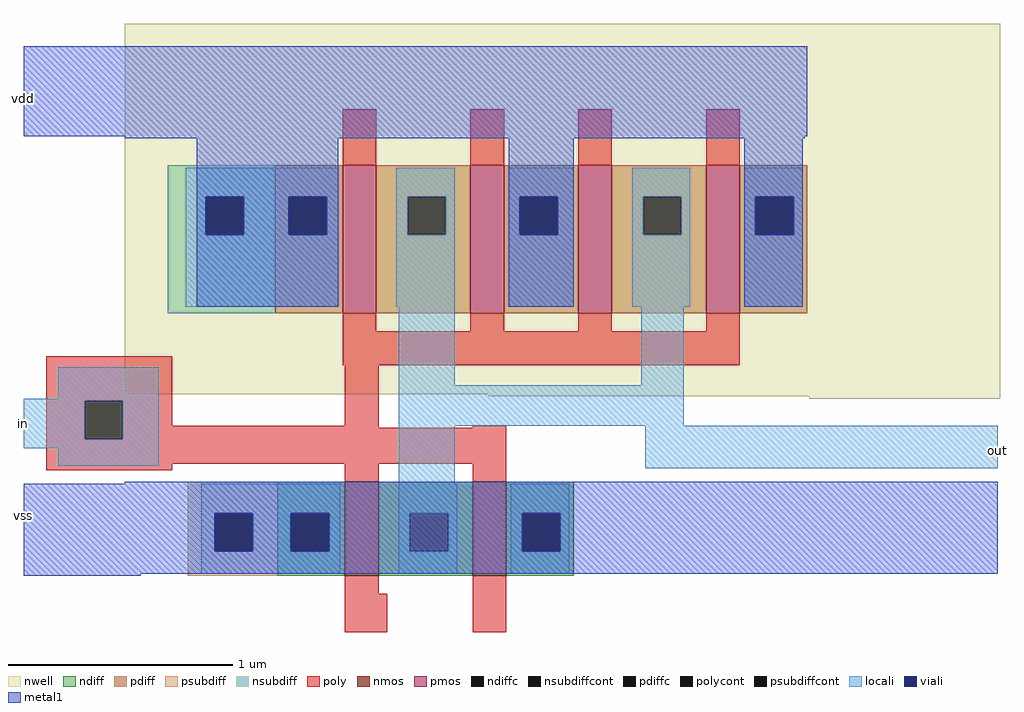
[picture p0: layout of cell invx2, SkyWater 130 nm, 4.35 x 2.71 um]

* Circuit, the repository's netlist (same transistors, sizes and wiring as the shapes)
* NGSPICE file created from invx2.ext - technology: sky130A

.subckt invx2 in out vdd vss
X0 vss in out vss sky130_fd_pr__nfet_01v8 ad=0.126 pd=1.44 as=0.0882 ps=0.84 w=0.42 l=0.15 M=2
X1 vdd in out vdd sky130_fd_pr__pfet_01v8 ad=0.1089 pd=0.99 as=0.1386 ps=1.08 w=0.66 l=0.15 M=4
.ends

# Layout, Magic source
magic
tech sky130A
<< nwell >>
rect -138 221 252 386
rect 24 220 252 221
rect 167 219 252 220
<< nmos >>
rect -40 140 -25 182
rect 17 140 32 182
<< pmos >>
rect -41 257 -26 323
rect 16 257 31 323
rect 64 257 79 323
rect 121 257 136 323
<< ndiff >>
rect -70 168 -40 182
rect -70 151 -64 168
rect -47 151 -40 168
rect -70 140 -40 151
rect -25 168 17 182
rect -25 151 -11 168
rect 6 151 17 168
rect -25 140 17 151
rect 32 168 62 182
rect 32 151 39 168
rect 56 151 62 168
rect 32 140 62 151
<< pdiff >>
rect -71 309 -41 323
rect -71 292 -65 309
rect -48 292 -41 309
rect -71 257 -41 292
rect -26 309 16 323
rect -26 292 -12 309
rect 5 292 16 309
rect -26 257 16 292
rect 31 309 64 323
rect 31 292 38 309
rect 55 292 64 309
rect 31 257 64 292
rect 79 309 121 323
rect 79 292 93 309
rect 110 292 121 309
rect 79 257 121 292
rect 136 309 166 323
rect 136 292 143 309
rect 160 292 166 309
rect 136 257 166 292
<< ndiffc >>
rect -64 151 -47 168
rect -11 151 6 168
rect 39 151 56 168
<< pdiffc >>
rect -65 292 -48 309
rect -12 292 5 309
rect 38 292 55 309
rect 93 292 110 309
rect 143 292 160 309
<< psubdiff >>
rect -110 168 -70 182
rect -110 151 -98 168
rect -81 151 -70 168
rect -110 140 -70 151
<< nsubdiff >>
rect -119 309 -71 323
rect -119 292 -102 309
rect -85 292 -71 309
rect -119 257 -71 292
<< psubdiffcont >>
rect -98 151 -81 168
<< nsubdiffcont >>
rect -102 292 -85 309
<< poly >>
rect -41 323 -26 348
rect 16 323 31 348
rect 64 323 79 348
rect 121 323 136 348
rect -41 249 -26 257
rect 16 249 31 257
rect 64 249 79 257
rect 121 249 136 257
rect -173 218 -117 238
rect -41 234 136 249
rect -173 201 -156 218
rect -139 207 -117 218
rect -40 207 -25 234
rect -139 206 -25 207
rect 17 206 32 207
rect -139 201 32 206
rect -173 190 32 201
rect -173 187 -117 190
rect -40 182 -25 190
rect 17 182 32 190
rect -40 132 -25 140
rect -40 115 -21 132
rect 17 115 32 140
<< polycont >>
rect -156 201 -139 218
<< locali >>
rect -111 309 -43 322
rect -111 292 -102 309
rect -85 292 -65 309
rect -48 292 -43 309
rect -111 260 -43 292
rect -17 309 9 322
rect -17 292 -12 309
rect 5 292 9 309
rect -17 260 9 292
rect 33 309 62 322
rect 33 292 38 309
rect 55 292 62 309
rect 33 260 62 292
rect 88 309 114 322
rect 88 292 93 309
rect 110 292 114 309
rect 88 260 114 292
rect 138 309 164 322
rect 138 292 143 309
rect 160 292 164 309
rect 138 260 164 292
rect -168 219 -123 233
rect -183 218 -123 219
rect -183 201 -156 218
rect -139 201 -123 218
rect -183 197 -123 201
rect -168 189 -123 197
rect -16 225 9 260
rect 92 225 111 260
rect -16 207 111 225
rect -16 181 9 207
rect 94 188 251 207
rect -104 168 -42 181
rect -104 151 -98 168
rect -81 151 -64 168
rect -47 151 -42 168
rect -104 141 -42 151
rect -16 168 10 181
rect -16 151 -11 168
rect 6 151 10 168
rect -16 141 10 151
rect 34 168 60 181
rect 34 151 39 168
rect 56 151 60 168
rect 34 141 60 151
<< viali >>
rect -102 292 -85 309
rect -65 292 -48 309
rect 38 292 55 309
rect 143 292 160 309
rect -98 151 -81 168
rect -64 151 -47 168
rect 39 151 56 168
<< metal1 >>
rect -183 336 166 376
rect -138 335 165 336
rect -106 309 -43 335
rect -106 292 -102 309
rect -85 292 -65 309
rect -48 292 -43 309
rect -106 260 -43 292
rect 33 309 62 335
rect 33 292 38 309
rect 55 292 62 309
rect 33 260 62 292
rect 138 309 164 335
rect 138 292 143 309
rect 160 292 164 309
rect 138 260 164 292
rect -138 181 251 182
rect -183 168 251 181
rect -183 151 -98 168
rect -81 151 -64 168
rect -47 151 39 168
rect 56 151 251 168
rect -183 141 251 151
rect -183 140 -131 141
<< labels >>
rlabel locali -183 208 -183 208 7 in
port 1 w
rlabel locali 251 196 251 196 3 out
port 2 e
rlabel metal1 -183 353 -183 353 7 vdd
port 3 w
rlabel metal1 -183 167 -183 167 7 vss
port 4 w
<< end >>
